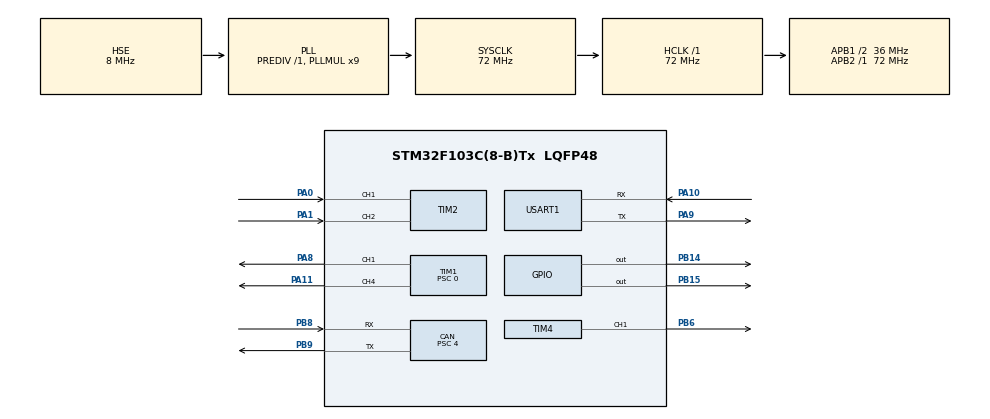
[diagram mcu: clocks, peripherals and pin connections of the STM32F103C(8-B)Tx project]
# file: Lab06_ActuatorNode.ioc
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CAN.BS1=CAN_BS1_13TQ
CAN.BS2=CAN_BS2_4TQ
CAN.CalculateBaudRate=500000
CAN.CalculateTimeBit=2000
CAN.CalculateTimeQuantum=111.11111111111111
CAN.Prescaler=4
Mcu.Family=STM32F1
Mcu.Name=STM32F103C(8-B)Tx
Mcu.Package=LQFP48
NVIC.PriorityGroup=NVIC_PRIORITYGROUP_4
NVIC.TIM2_IRQn=true\:0\:0\:false\:false\:true\:true\:true\:true
NVIC.TIM3_IRQn=true\:0\:0\:false\:false\:true\:true\:true\:true
NVIC.USB_LP_CAN1_RX0_IRQn=true\:0\:0\:false\:false\:true\:true\:true\:true
PA0-WKUP.Signal=S_TIM2_CH1_ETR
PA1.Signal=S_TIM2_CH2
PA10.Mode=Asynchronous
PA10.Signal=USART1_RX
PA11.Signal=S_TIM1_CH4
PA13.Mode=Serial_Wire
PA13.Signal=SYS_JTMS-SWDIO
PA14.Mode=Serial_Wire
PA14.Signal=SYS_JTCK-SWCLK
PA8.Signal=S_TIM1_CH1
PA9.Mode=Asynchronous
PA9.Signal=USART1_TX
PB14.Signal=GPIO_Output
PB15.Signal=GPIO_Output
PB6.Signal=S_TIM4_CH1
PB8.Mode=CAN_Activate
PB8.Signal=CAN_RX
PB9.Mode=CAN_Activate
PB9.Signal=CAN_TX
PD0-OSC_IN.Mode=HSE-External-Oscillator
PD0-OSC_IN.Signal=RCC_OSC_IN
PD1-OSC_OUT.Mode=HSE-External-Oscillator
PD1-OSC_OUT.Signal=RCC_OSC_OUT
ProjectManager.HeapSize=0x200
ProjectManager.StackSize=0x400
ProjectManager.TargetToolchain=STM32CubeIDE
RCC.AHBFreq_Value=72000000
RCC.APB1CLKDivider=RCC_HCLK_DIV2
RCC.APB1Freq_Value=36000000
RCC.APB1TimFreq_Value=72000000
RCC.APB2Freq_Value=72000000
RCC.APB2TimFreq_Value=72000000
RCC.HCLKFreq_Value=72000000
RCC.PLLMUL=RCC_PLL_MUL9
RCC.PLLSourceVirtual=RCC_PLLSOURCE_HSE
RCC.SYSCLKFreq_VALUE=72000000
RCC.SYSCLKSource=RCC_SYSCLKSOURCE_PLLCLK
RCC.USBFreq_Value=72000000
SH.S_TIM1_CH1.0=TIM1_CH1,PWM Generation1 CH1
SH.S_TIM1_CH4.0=TIM1_CH4,PWM Generation4 CH4
SH.S_TIM2_CH1_ETR.0=TIM2_CH1,Encoder_Interface
SH.S_TIM2_CH2.0=TIM2_CH2,Encoder_Interface
SH.S_TIM4_CH1.0=TIM4_CH1,PWM Generation1 CH1
TIM1.Channel-PWM\ Generation1\ CH1=TIM_CHANNEL_1
TIM1.Channel-PWM\ Generation4\ CH4=TIM_CHANNEL_4
TIM1.Period=7199
TIM1.Prescaler=0
TIM2.EncoderMode=TIM_ENCODERMODE_TI12
TIM2.IC1Polarity=TIM_ICPOLARITY_FALLING
TIM2.IC2Polarity=TIM_ICPOLARITY_FALLING
TIM3.Period=999
TIM3.Prescaler=7199
TIM4.Channel-PWM\ Generation1\ CH1=TIM_CHANNEL_1
TIM4.Period=9999
TIM4.Prescaler=143
USART1.VirtualMode=VM_ASYNC
VP_TIM1_VS_ClockSourceINT.Mode=Internal
VP_TIM3_VS_ClockSourceINT.Mode=Internal
VP_TIM4_VS_ClockSourceINT.Mode=Internal
board=custom

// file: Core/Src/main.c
/* USER CODE BEGIN Header */
/**
  ******************************************************************************
  * @file           : main.c
  * @brief          : Main program body
  ******************************************************************************
  * @attention
  *
  * Copyright (c) 2024 STMicroelectronics.
  * All rights reserved.
  *
  * This software is licensed under terms that can be found in the LICENSE file
  * in the root directory of this software component.
  * If no LICENSE file comes with this software, it is provided AS-IS.
  *
  ******************************************************************************
  */
/* USER CODE END Header */
#include "main.h"
#include "can.h"
#include "tim.h"
#include "usart.h"
#include "gpio.h"

/* USER CODE BEGIN Includes */
#include "stdio.h"
#include "SERVO.h"
#include "MOTOR.h"
#include "SIGNAL.h"
#include "CAN_Handler.h"
/* USER CODE END Includes */

/* USER CODE BEGIN PD */
#define speed 20
/* USER CODE END PD */

void SystemClock_Config(void);

/* USER CODE BEGIN 0 */
	uint8_t g_receiveFlag = 0;
	uint8_t g_message = 7;
	uint8_t g_subMessage = 7;
void HAL_CAN_RxFifo0MsgPendingCallback(CAN_HandleTypeDef* hcan)
{
	HAL_CAN_GetRxMessage(hcan, CAN_RX_FIFO0, &RxHeader, RxData);
	mess = RxData[0];
	mess2 = RxData[1];
	receive = 1;
}

void debug() {

}
/* USER CODE END 0 */

int main(void)
{
  /* MCU Configuration--------------------------------------------------------*/

  /* Reset of all peripherals, Initializes the Flash interface and the Systick. */
  HAL_Init();

  /* Configure the system clock */
  SystemClock_Config();

  /* Initialize all configured peripherals */
  MX_GPIO_Init();
  MX_TIM1_Init();
  MX_TIM2_Init();
  MX_TIM3_Init();
  MX_USART1_UART_Init();
  MX_TIM4_Init();
  MX_CAN_Init();
  /* Application Initialization --------------------------------------------*/
	Start_Motor();
	Start_Servo();
	CAN_FilterInit_SingleFF0(&hcan, &canfilterconfig, SENSOR_ADDR);
	CAN_ComInit_Std(&TxHeader, &hcan, ACTUATOR_ADDR, 1);
  /* USER CODE END 2 */

  /* Infinite loop */
  /* USER CODE BEGIN WHILE */
	//uint8_t a = 0;
	run(speed, SFORWARD);
	//To_Angle(90, 0, FAST, 0);
	//Turn_Left();
	//To_Angle(90, 45, FAST, 0);
	while (1)
	{
		if (receive == 1) {
			switch (mess) {
			case 1: //Forward on the Left
			{
				run(speed, SFORWARD);
				Turn_Left();
				HAL_Delay(200);
				CAN_Transmit(&hcan, &TxHeader, LEFT);
				while (mess == 1) {
					CAN_Transmit(&hcan, &TxHeader, LEFT);
				}
				break;
			}
			case 2: //Forward on the Right
			{
				run(speed, SFORWARD);
				Turn_Right();
				HAL_Delay(200);
				CAN_Transmit(&hcan, &TxHeader, RIGHT);

				while (mess == 2) {
					CAN_Transmit(&hcan, &TxHeader, RIGHT);
				}
				break;
			}
			case 3: //Forward on the straight
			{
				run(speed, SFORWARD);
				if (mess2 == 1) {
					Turn_Left();
				}
				else if (mess2 == 2) {
					Turn_Right();
				}
				HAL_Delay(200);
				CAN_Transmit(&hcan, &TxHeader, FORWARD);
				while (mess == 3) {}
				break;
			}
			case 4: //Backward
			{
				if (mess2 == 1) {
					Turn_Left();
				}
				else {
					Turn_Right();
				}
				run(speed, SBACKWARD);
				CAN_Transmit(&hcan, &TxHeader, BACKWARD);
				HAL_Delay(1000);
				while(mess == 4) {
				}
				break;
			}
			}
			receive = 0;
		}
		//HAL_Delay(100);
		//CAN_Transmit(&hcan, &TxHeader, TxBuffer);

    /* USER CODE END WHILE */

	}
}

void SystemClock_Config(void)
{
  RCC_OscInitTypeDef RCC_OscInitStruct = {0};
  RCC_ClkInitTypeDef RCC_ClkInitStruct = {0};

  /** Initializes the RCC Oscillators according to the specified parameters
  * in the RCC_OscInitTypeDef structure.
  */
  RCC_OscInitStruct.OscillatorType = RCC_OSCILLATORTYPE_HSE;
  RCC_OscInitStruct.HSEState = RCC_HSE_ON;
  RCC_OscInitStruct.HSEPredivValue = RCC_HSE_PREDIV_DIV1;
  RCC_OscInitStruct.HSIState = RCC_HSI_ON;
  RCC_OscInitStruct.PLL.PLLState = RCC_PLL_ON;
  RCC_OscInitStruct.PLL.PLLSource = RCC_PLLSOURCE_HSE;
  RCC_OscInitStruct.PLL.PLLMUL = RCC_PLL_MUL9;
  if (HAL_RCC_OscConfig(&RCC_OscInitStruct) != HAL_OK)
  {
    Error_Handler();
  }

  /** Initializes the CPU, AHB and APB buses clocks
  */
  RCC_ClkInitStruct.ClockType = RCC_CLOCKTYPE_HCLK|RCC_CLOCKTYPE_SYSCLK
                              |RCC_CLOCKTYPE_PCLK1|RCC_CLOCKTYPE_PCLK2;
  RCC_ClkInitStruct.SYSCLKSource = RCC_SYSCLKSOURCE_PLLCLK;
  RCC_ClkInitStruct.AHBCLKDivider = RCC_SYSCLK_DIV1;
  RCC_ClkInitStruct.APB1CLKDivider = RCC_HCLK_DIV2;
  RCC_ClkInitStruct.APB2CLKDivider = RCC_HCLK_DIV1;

  if (HAL_RCC_ClockConfig(&RCC_ClkInitStruct, FLASH_LATENCY_2) != HAL_OK)
  {
    Error_Handler();
  }
}

void Error_Handler(void)
{
  __disable_irq();
  while (1)
  {
  }
}
